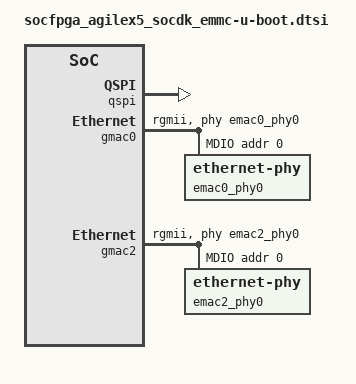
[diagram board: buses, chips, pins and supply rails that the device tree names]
// SPDX-License-Identifier: GPL-2.0+
/*
 * U-Boot additions for Agilex5 SocDK eMMC
 *
 * Copyright (C) 2025 Altera Corporation <www.altera.com>
 */

#include "socfpga_agilex5-u-boot.dtsi"

/{
	aliases {
		spi0 = &qspi;
		freeze_br0 = &freeze_controller;
	};

	soc {
		freeze_controller: freeze_controller@0x20000450 {
			compatible = "altr,freeze-bridge-controller";
			reg = <0x20000450 0x00000010>;
			status = "disabled";
		};
	};

	/*
	 * Both Memory base address and size default info is retrieved from HW setting.
	 * Reconfiguration / Overwrite these info can be done with examples below.
	 *
	 * When LPDDR ECC is enabled, the last 1/8 of the memory region must
	 * be reserved for the Inline ECC buffer.
	 *
	 * Example for memory size with 2GB:
	 * memory {
	 *	reg = <0x0 0x80000000 0x0 0x80000000>;
	 * };
	 *
	 * Example for memory size with 8GB:
	 * memory {
	 *	reg = <0x0 0x80000000 0x0 0x80000000>,
	 *	      <0x8 0x80000000 0x1 0x80000000>;
	 * };
	 *
	 * Example for memory size with 32GB:
	 * memory {
	 *	reg = <0x0 0x80000000 0x0 0x80000000>,
	 *	      <0x8 0x80000000 0x7 0x80000000>;
	 * };
	 *
	 * Example for memory size with 512GB:
	 * memory {
	 *	reg = <0x0 0x80000000 0x0 0x80000000>,
	 *	      <0x8 0x80000000 0x7 0x80000000>,
	 *	      <0x88 0x00000000 0x78 0x00000000>;
	 * };
	 *
	 * Example for memory size with 2GB with LPDDR Inline ECC ON:
	 * memory {
	 *	reg = <0x0 0x80000000 0x0 0x70000000>;
	 * };
	 *
	 * Example for memory size with 8GB with LPDDR Inline ECC ON:
	 * memory {
	 *	reg = <0x0 0x80000000 0x0 0x80000000>,
	 *	      <0x8 0x80000000 0x1 0x40000000>;
	 * };
	 */

	chosen {
		stdout-path = "serial0:115200n8";
		u-boot,spl-boot-order = &mmc,&flash0,&nand,"/memory";
	};
};

&flash0 {
	compatible = "jedec,spi-nor";
	spi-tx-bus-width = <4>;
	spi-rx-bus-width = <4>;
	bootph-all;
	/delete-property/ cdns,read-delay;
};

&flash1 {
	bootph-all;
};

&i3c0 {
	bootph-all;
};

&i3c1 {
	bootph-all;
};

&gpio1 {
	portb: gpio-controller@0 {
		bootph-all;
	};
};

&sd_emmc_power {
	bootph-all;
};

&emmc_io_1v8_reg {
	bootph-all;
};

&mmc {
	bootph-all;
};

&qspi {
	status = "okay";
};

&nand {
	status = "disabled";
	bootph-all;
};

&timer0 {
	bootph-all;
};

&timer1 {
	bootph-all;
};

&timer2 {
	bootph-all;
};

&timer3 {
	bootph-all;
};

&watchdog0 {
	bootph-all;
};

&gmac0 {
	status = "okay";
	phy-mode = "rgmii";
	phy-handle = <&emac0_phy0>;

	max-frame-size = <9000>;

	mdio0 {
		#address-cells = <1>;
		#size-cells = <0>;
		compatible = "snps,dwxgmac-mdio";
		emac0_phy0: ethernet-phy@0 {
			reg = <0>;
		};
	};
};

&gmac2 {
	status = "okay";
	phy-mode = "rgmii";
	phy-handle = <&emac2_phy0>;

	max-frame-size = <9000>;

	mdio0 {
		#address-cells = <1>;
		#size-cells = <0>;
		compatible = "snps,dwxgmac-mdio";
		emac2_phy0: ethernet-phy@0 {
			reg = <0>;
		};
	};
};
